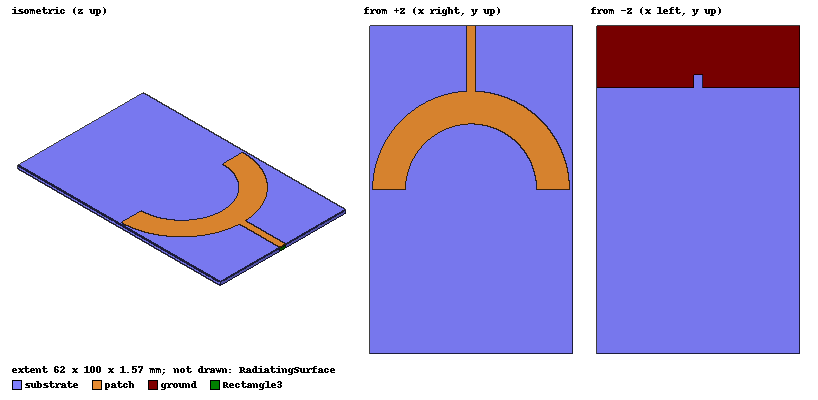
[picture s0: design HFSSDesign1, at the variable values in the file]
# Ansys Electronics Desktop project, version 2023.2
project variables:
  $D = 40mm
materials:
  vacuum: permittivity=1
  FR4_epoxy: permittivity=4.4 dielectric_loss_tangent=0.02
  air: permittivity=1.0006 permeability=1.0000004

design HFSSDesign1 (HFSS, HFSS Terminal Network, model units mm)
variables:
  D = 40mm
  P = D/2
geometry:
  ground = rectangle(corner=(-31mm, 31mm, 0mm), x_size=62mm, y_size=19mm)
  substrate [FR4_epoxy] = box(corner=(-31mm, -50mm, 0mm), size=(62mm, 100mm, 1.57mm))
  Rectangle2 = rectangle(corner=(-1.5mm, 0mm, 0mm), x_size=3mm, y_size=35mm)
  ground.subtract(Rectangle2)
  Rectangle3 = rectangle(corner=(-1.5mm, 50mm, 1.57mm), z_size=-1.57mm, x_size=3mm)
  RadiatingSurface [vacuum] = region(absolute_offset=20.408163mm on all sides)
  patch = circle(normal=Z, centre=(0mm, 0mm, 1.57mm), radius=30mm)
  Circle2 = circle(normal=Z, centre=(0mm, 0mm, 1.57mm), radius=P)
  patch.subtract(Circle2)
  Rectangle4 = rectangle(corner=(-1.5mm, 28mm, 1.57mm), x_size=3mm, y_size=22mm)
  patch.unite(Rectangle4)
  Rectangle5 = rectangle(corner=(30mm, 0mm, 1.57mm), x_size=-60mm, y_size=-32mm)
  patch.subtract(Rectangle5)
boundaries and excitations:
  Open1: Radiation Objects=RadiatingSurface
  PerfE2: Perfect E Objects=ground
  PerfE1: Perfect E Objects=patch
  1: Lumped Port Objects=Rectangle3 LumpedPortType=Modal Modes{Mode1{IntLine{(0, 50, 0) -> (0, 50, 1.57)} CharImp=Zpi}} Impedance=50ohm
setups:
  Setup1: HfssDriven Frequency=3GHz MaxDeltaS=0.02 MaximumPasses=7 MinimumPasses=1 MinimumConvergedPasses=1 PercentRefinement=30 BasisOrder=1 PortAccuracy=2 DrivenSolverType="Direct Solver"
    sweep Sweep: 1GHz to 14GHz, 200 points; Type=Fast SaveFields
  Setup2: HfssDriven Frequency=8GHz MaxDeltaS=0.02 MaximumPasses=6 MinimumPasses=1 MinimumConvergedPasses=1 PercentRefinement=30 BasisOrder=1 PortAccuracy=2 DrivenSolverType="Direct Solver"
    sweep Sweep: 1GHz to 14GHz, 200 points; Type=Interpolating InterpTolerance=0.5 InterpMaxSolns=250 PassivityErrorTolerance=0.0001
  Setup3: HfssDriven Frequency=7GHz MaxDeltaS=0.02 MaximumPasses=6 MinimumPasses=1 MinimumConvergedPasses=1 PercentRefinement=30 BasisOrder=1 PortAccuracy=2 DrivenSolverType="Direct Solver"
    sweep Sweep: 1GHz to 14GHz, 401 points; Type=Fast SaveFields
  Setup4: HfssDriven MultipleAdaptiveFreqsSetup{AdaptAt{Frequency=3.5GHz Delta=0.02} AdaptAt{Frequency=6GHz Delta=0.02} AdaptAt{Frequency=10.5GHz Delta=0.02}} MaximumPasses=6 MinimumPasses=1 MinimumConvergedPasses=1 PercentRefinement=30 BasisOrder=1 PortAccuracy=2 DrivenSolverType="Direct Solver" ConstantDelta=0s VariablesForDerivatives(D) VariableFlagsForDerivatives(1)
    sweep Sweep: 3GHz to 14GHz, 100 points; Type=Interpolating InterpTolerance=0.5 InterpMaxSolns=250 PassivityErrorTolerance=0.0001
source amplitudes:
  1:1: 1V 0deg
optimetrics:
  ParametricSetup3: Parametric Sim._Setups=[Setup1, Setup2, Setup3, Setup4]
    sweep D: LIN 10mm 50mm 10mm
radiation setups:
  Infinite Sphere1: Infinite Sphere Theta=-180deg..180deg step 2deg Phi=90deg..90deg step 180deg
  Infinite Sphere2: Infinite Sphere Theta=0deg..360deg step 2deg Phi=-180deg..180deg step 2deg
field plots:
  Mag_Jsurf1: Jsurf over ground.face(at (0, 40.5, 0)) Rectangle3.face on Setup1 : Sweep at Freq=8.52632GHz Phase=0deg
  Mag_Jsurf2: Jsurf over ground.face(at (0, 40.5, 0)) Rectangle3.face on Setup1 : LastAdaptive at Freq=3GHz Phase=0deg
  Mag_Jsurf5: Jsurf over ground.face(at (0, 40.5, 0)) Rectangle3.face on Setup2 : LastAdaptive at Freq=8GHz Phase=0deg
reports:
  S Parameter Plot 1: dB(S(1,1)) vs Freq on Setup1 : Sweep [$D=all]; dB(S(1,1)) vs Freq on Setup1 : AdaptivePass [$D=all Pass=1,2,3,4,5,6,7]
  rE Plot 2: dB(rETotal) vs Phi, Theta on Setup1 : LastAdaptive, Infinite Sphere2 [Freq=3GHz $D=10mm]
  Gamma Plot 1: dB(S(1,1)) vs Freq on Setup4 : AdaptivePass [D=all Pass=1,2,3,4,5,6]
